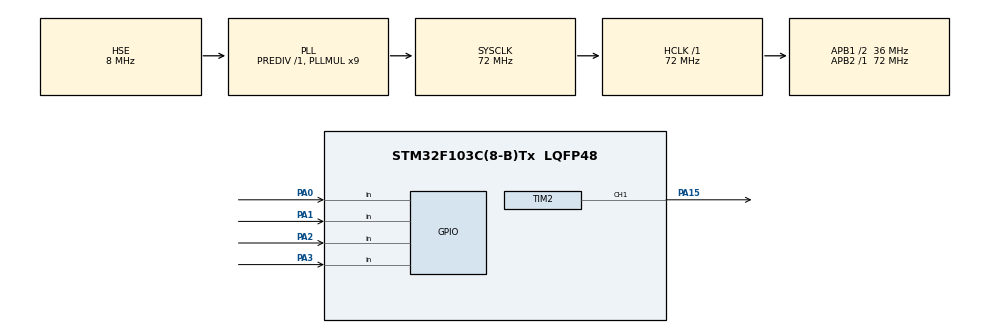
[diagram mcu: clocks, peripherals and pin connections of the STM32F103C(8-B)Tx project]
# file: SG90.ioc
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Mcu.Family=STM32F1
Mcu.Name=STM32F103C(8-B)Tx
Mcu.Package=LQFP48
NVIC.PriorityGroup=NVIC_PRIORITYGROUP_4
PA0-WKUP.GPIO_PuPd=GPIO_PULLUP
PA0-WKUP.Signal=GPIO_Input
PA1.GPIO_PuPd=GPIO_PULLUP
PA1.Signal=GPIO_Input
PA15.Signal=S_TIM2_CH1_ETR
PA2.GPIO_PuPd=GPIO_PULLUP
PA2.Signal=GPIO_Input
PA3.GPIO_PuPd=GPIO_PULLUP
PA3.Signal=GPIO_Input
PD0-OSC_IN.Mode=HSE-External-Oscillator
PD0-OSC_IN.Signal=RCC_OSC_IN
PD1-OSC_OUT.Mode=HSE-External-Oscillator
PD1-OSC_OUT.Signal=RCC_OSC_OUT
ProjectManager.HeapSize=0x200
ProjectManager.StackSize=0x400
ProjectManager.TargetToolchain=MDK-ARM V5.32
RCC.AHBFreq_Value=72000000
RCC.APB1CLKDivider=RCC_HCLK_DIV2
RCC.APB1Freq_Value=36000000
RCC.APB1TimFreq_Value=72000000
RCC.APB2Freq_Value=72000000
RCC.APB2TimFreq_Value=72000000
RCC.HCLKFreq_Value=72000000
RCC.PLLMUL=RCC_PLL_MUL9
RCC.PLLSourceVirtual=RCC_PLLSOURCE_HSE
RCC.SYSCLKFreq_VALUE=72000000
RCC.SYSCLKSource=RCC_SYSCLKSOURCE_PLLCLK
RCC.USBFreq_Value=72000000
SH.S_TIM2_CH1_ETR.0=TIM2_CH1,PWM Generation1 CH1
TIM2.AutoReloadPreload=TIM_AUTORELOAD_PRELOAD_ENABLE
TIM2.Channel-PWM\ Generation1\ CH1=TIM_CHANNEL_1
TIM2.Period=19999
TIM2.Prescaler=71
TIM2.Pulse-PWM\ Generation1\ CH1=500
VP_SYS_VS_ND.Mode=No_Debug
board=custom

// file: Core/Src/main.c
/* USER CODE BEGIN Header */
/**
  ******************************************************************************
  * @file           : main.c
  * @brief          : Main program body
  ******************************************************************************
  * @attention
  *
  * Copyright (c) 2023 STMicroelectronics.
  * All rights reserved.
  *
  * This software is licensed under terms that can be found in the LICENSE file
  * in the root directory of this software component.
  * If no LICENSE file comes with this software, it is provided AS-IS.
  *
  ******************************************************************************
  */
/* USER CODE END Header */
#include "main.h"
#include "tim.h"
#include "gpio.h"

/* USER CODE BEGIN Includes */
#include "servomotor.h"
/* USER CODE END Includes */

void SystemClock_Config(void);

int main(void)
{

  /* MCU Configuration--------------------------------------------------------*/

  /* Reset of all peripherals, Initializes the Flash interface and the Systick. */
  HAL_Init();

  /* Configure the system clock */
  SystemClock_Config();

  /* Initialize all configured peripherals */
  MX_GPIO_Init();
  MX_TIM2_Init();
  /* USER CODE BEGIN 2 */
	Servomotor_Init();
	uint16_t angle=0,flag=0;
  /* USER CODE END 2 */

  /* Infinite loop */
  /* USER CODE BEGIN WHILE */
  while (1)
  {
	  if(HAL_GPIO_ReadPin(GPIOA,GPIO_PIN_0)==GPIO_PIN_RESET)
		  flag=1;
	  else if(HAL_GPIO_ReadPin(GPIOA,GPIO_PIN_1)==GPIO_PIN_RESET)
		  flag=2;
	  else if(HAL_GPIO_ReadPin(GPIOA,GPIO_PIN_2)==GPIO_PIN_RESET)
		  flag=3;
	  else if(HAL_GPIO_ReadPin(GPIOA,GPIO_PIN_3)==GPIO_PIN_RESET)
		  flag=4;
	  switch(flag)
	  {
		  case 1:angle+=30;if(angle>=180) angle=0;
		  case 2:if(angle<=0) angle=180;angle-=30;
		  case 3:angle=0;
		  case 4:angle=180;
	  }
	  Servomotor(angle);
	  HAL_Delay(100);
    /* USER CODE END WHILE */

  }
}

void SystemClock_Config(void)
{
  RCC_OscInitTypeDef RCC_OscInitStruct = {0};
  RCC_ClkInitTypeDef RCC_ClkInitStruct = {0};

  /** Initializes the RCC Oscillators according to the specified parameters
  * in the RCC_OscInitTypeDef structure.
  */
  RCC_OscInitStruct.OscillatorType = RCC_OSCILLATORTYPE_HSE;
  RCC_OscInitStruct.HSEState = RCC_HSE_ON;
  RCC_OscInitStruct.HSEPredivValue = RCC_HSE_PREDIV_DIV1;
  RCC_OscInitStruct.HSIState = RCC_HSI_ON;
  RCC_OscInitStruct.PLL.PLLState = RCC_PLL_ON;
  RCC_OscInitStruct.PLL.PLLSource = RCC_PLLSOURCE_HSE;
  RCC_OscInitStruct.PLL.PLLMUL = RCC_PLL_MUL9;
  if (HAL_RCC_OscConfig(&RCC_OscInitStruct) != HAL_OK)
  {
    Error_Handler();
  }

  /** Initializes the CPU, AHB and APB buses clocks
  */
  RCC_ClkInitStruct.ClockType = RCC_CLOCKTYPE_HCLK|RCC_CLOCKTYPE_SYSCLK
                              |RCC_CLOCKTYPE_PCLK1|RCC_CLOCKTYPE_PCLK2;
  RCC_ClkInitStruct.SYSCLKSource = RCC_SYSCLKSOURCE_PLLCLK;
  RCC_ClkInitStruct.AHBCLKDivider = RCC_SYSCLK_DIV1;
  RCC_ClkInitStruct.APB1CLKDivider = RCC_HCLK_DIV2;
  RCC_ClkInitStruct.APB2CLKDivider = RCC_HCLK_DIV1;

  if (HAL_RCC_ClockConfig(&RCC_ClkInitStruct, FLASH_LATENCY_2) != HAL_OK)
  {
    Error_Handler();
  }
}

void Error_Handler(void)
{
  __disable_irq();
  while (1)
  {
  }
}
